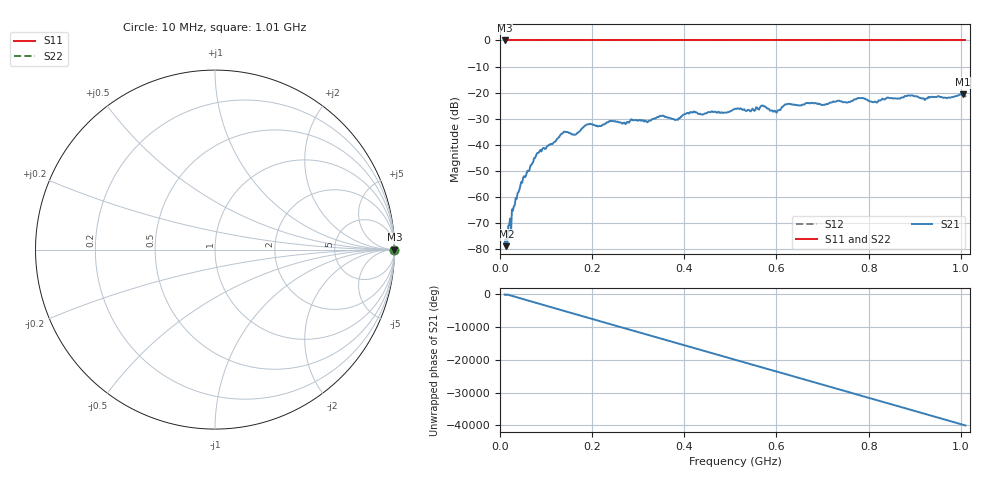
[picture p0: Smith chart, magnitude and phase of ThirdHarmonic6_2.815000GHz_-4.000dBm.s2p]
! 8/17/2025 7:24:51 AM
! C:\ANRITSUVNA\TEMP\TEMP.S2P
! CHANNEL.1
! TR.MEASUREMENT
! RAW.DATA
! RF.CORRECTION.OFF
! AVERAGING.OFF
! IF.BANDWIDTH: 5KHZ
! SWEEPTYPE:  FREQ.SWEEP(Linear)
! Reference Plane Port Info
! PORT:  PORT1  PORT2
! DISTANCE:  0  m  0  m
! TIME:  0  s  0  s
! PHASE.OFFSET:  0  deg.  0  deg.
! LOSS:  0  dB  0  dB
! REF.LOSS:  0  dB  0  dB
! REF.FREQ:  0  Hz  0  Hz
! Power Info
! POWER:  -20  dBm  -20  dBm
! EFF.POWER:  -20  dBm  -20  dBm
! SOURCE.ATTEN:  0  dB  0  dB
! TEST.ATTEN:  0  dB  0  dB
# GHZ S RI R 50.0
! FREQ.GHZ  S11RE  S11IM  S21RE  S21IM  S12RE  S12IM  S22RE  S22IM
!; PortSelection: Port_12
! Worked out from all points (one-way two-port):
!   501 points, 10 MHz to 1.01 GHz, reference 50 ohm
!   highest |S21| = -20.70 dB at 1.004 GHz (marker M1); lowest = -78.8 dB at 14 MHz (marker M2)
!   lowest |S11| = 0.0 dB at 10 MHz (marker M3)
!   |S11| at or under -10 dB: nowhere
!   |S22| runs from 0.0 to 0.0 dB; largest |S21 - S12| = 1.1
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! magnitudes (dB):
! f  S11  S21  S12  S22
! 10 MHz  0.0  -77.5  0.0  0.0
! 14 MHz  0.0  -78.8  0.0  0.0
! 30 MHz  0.0  -63.5  0.0  0.0
! 42 MHz  0.0  -57.3  0.0  0.0
! 78 MHz  0.0  -44.3  0.0  0.0
! 136 MHz  0.0  -35.6  0.0  0.0
! 162 MHz  0.0  -36.2  0.0  0.0
! 178 MHz  0.0  -33.7  0.0  0.0
! 192 MHz  0.0  -32.1  0.0  0.0
! 322 MHz  0.0  -31.0  0.0  0.0
! 344 MHz  0.0  -29.4  0.0  0.0
! 382 MHz  0.0  -30.4  0.0  0.0
! 418 MHz  0.0  -27.7  0.0  0.0
! 510 MHz  0.0  -26.2  0.0  0.0
! 570 MHz  0.0  -24.9  0.0  0.0
! 596 MHz  0.0  -26.9  0.0  0.0
! 622 MHz  0.0  -24.5  0.0  0.0
! 678 MHz  0.0  -24.0  0.0  0.0
! 814 MHz  0.0  -23.4  0.0  0.0
! 844 MHz  0.0  -22.0  0.0  0.0
! 1.004 GHz  0.0  -20.7  0.0  0.0
! 1.01 GHz  0.0  -21.3  0.0  0.0
